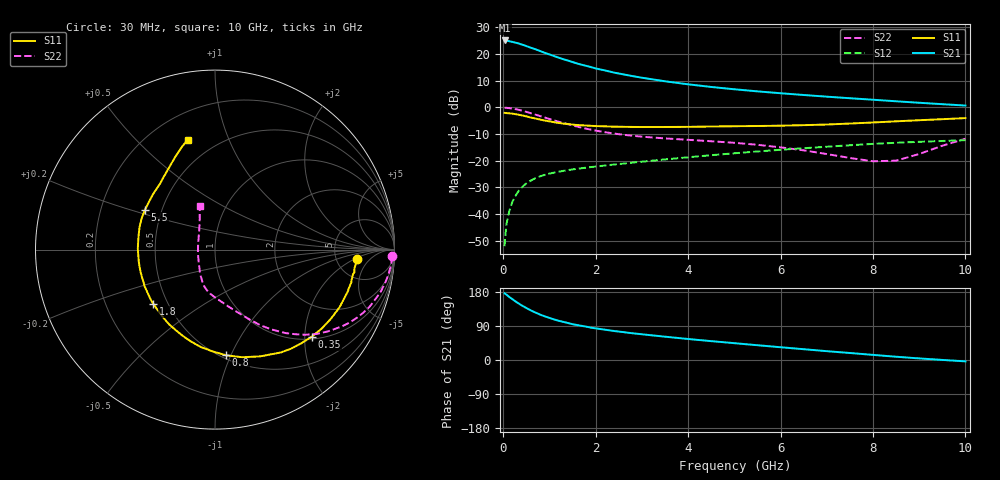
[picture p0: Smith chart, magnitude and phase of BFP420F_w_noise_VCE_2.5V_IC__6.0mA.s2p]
! Infineon Technologies  Discrete & RF Semiconductors
! BFP420F
! VCE =  2.5 V,  IC =  6.0 mA
! Common Emitter S-Parameters:  Sep 2011
# GHz  S  MA  R  50
!  f  S11  S21  S12  S22
! GHz  MAG  ANG  MAG  ANG  MAG  ANG  MAG  ANG
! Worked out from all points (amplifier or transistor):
!   54 points, 30 MHz to 10 GHz, reference 50 ohm
!   highest |S21| = 25.1 dB at 40 MHz (marker M1)
!   |S21| within 3 dB of that: start of sweep to 645.1 MHz
!   unconditionally stable (mu >= 1): 2.414 GHz to end of sweep
!   at 120 MHz: K = 0.11, MSG = 32.3 dB, |S12| = -39.7 dB
!   at 1.3 GHz: K = 0.59, MSG = 21.0 dB, |S12| = -23.8 dB
!   at 10 GHz: K = 1.35, MAG = 3.0 dB, |S12| = -12.3 dB
!   lowest NFmin = 1.00 dB at 450 MHz
!   S11 on the Smith chart (normalised r, x): 30 MHz: 7.94, -2.23; 350 MHz: 1.06, -2.17; 800 MHz: 0.53, -0.96; 1.8 GHz: 0.42, -0.32; 5.5 GHz: 0.40, +0.22; 10 GHz: 0.35, +0.72
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0.03  0.7912 -3.8  18.04 176.2  0.0025 86.4  0.9869 -2.2
0.04  0.7887 -5.0  18.06 175.2  0.0035 87.6  0.9865 -2.8
0.1  0.7797 -12.6  17.82 169.3  0.0087 84.7  0.9787 -7.2
0.15  0.7726 -18.8  17.35 164.6  0.013 81.0  0.9677 -10.6
0.25  0.7523 -30.7  16.52 155.9  0.0207 75.6  0.9354 -17.2
0.35  0.7256 -42.0  15.68 147.9  0.0283 70.9  0.8959 -23.3
0.45  0.6963 -52.4  14.7 140.6  0.0347 66.5  0.8517 -28.6
0.6  0.6462 -67.0  13.19 130.7  0.0426 60.9  0.7781 -35.8
0.8  0.5921 -84.0  11.42 119.7  0.051 55.3  0.6881 -43.6
1  0.5484 -98.3  9.882 111.1  0.0574 51.5  0.6077 -49.9
1.2  0.5123 -110.8  8.569 103.5  0.0624 48.8  0.5403 -55.1
1.5  0.4774 -126.5  7.115 94.5  0.0688 46.3  0.4599 -61.4
1.7  0.4621 -134.9  6.325 90.1  0.0725 45.4  0.4171 -65.2
1.8  0.4578 -138.8  6.018 87.9  0.0744 45.2  0.3994 -67.1
2.4  0.4357 -157.7  4.506 76.5  0.0851 43.9  0.3242 -77.0
3  0.4298 -171.6  3.612 67.9  0.0961 43.6  0.2831 -85.3
3.5  0.4302 179.1  3.098 61.5  0.106 43.2  0.2626 -91.1
4.5  0.4391 163.1  2.425 49.8  0.1272 41.3  0.2324 -100.8
5.5  0.4487 150.3  2.005 39.0  0.1494 38.3  0.1995 -109.8
7  0.4783 129.9  1.594 23.3  0.1832 32.1  0.1336 -130.6
8.5  0.5495 115.0  1.306 8.6  0.2175 23.9  0.1005 159.1
10  0.6315 103.9  1.086 -3.6  0.2435 15.7  0.2592 109.2
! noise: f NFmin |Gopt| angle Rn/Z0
0.45  1  0.17  17  0.17
0.9  1.02  0.18  42  0.16
1.9  1.19  0.16  110  0.13
2.4  1.27  0.18  119  0.15
3.5  1.56  0.23  155  0.19
